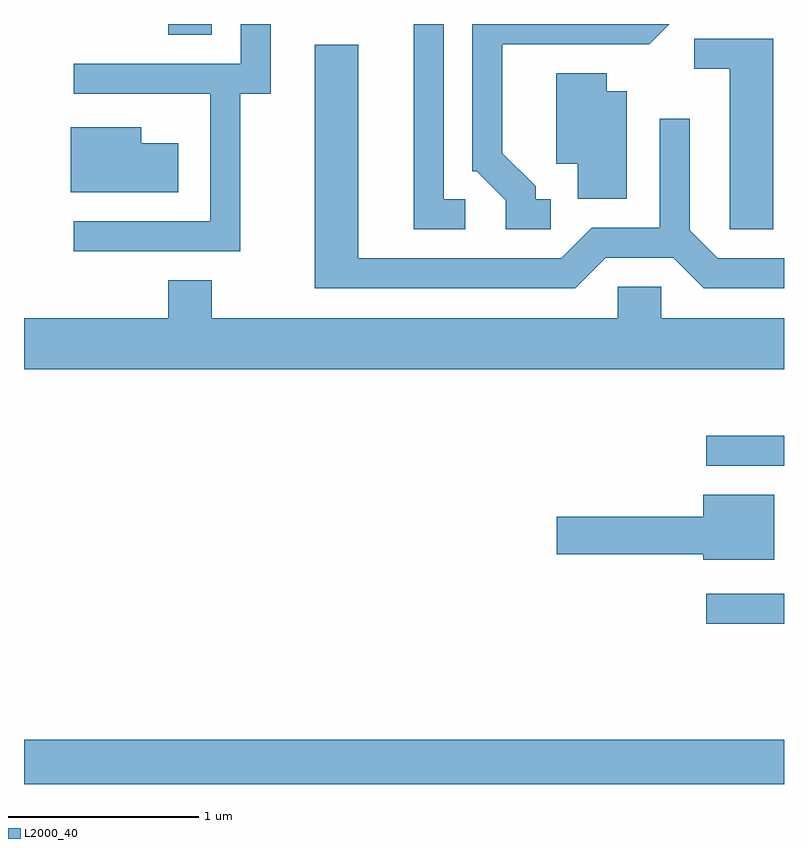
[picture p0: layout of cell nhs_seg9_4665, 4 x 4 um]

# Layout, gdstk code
import gdstk
lib = gdstk.Library(unit=1e-6, precision=1e-09)
def R(c, l, rs):  # rectangles x0, y0, x1, y1
    for r in rs: c.add(gdstk.rectangle(r[:2], r[2:], *l))
def P(c, l, *ps):  # polygons
    for p in ps: c.add(gdstk.Polygon(p, *l))
L2000_40 = (2000, 40)

nhs_seg9_4665 = lib.new_cell('nhs_seg9_4665')
R(nhs_seg9_4665, L2000_40, [(321.611,2078.432,325.611,2078.664), (325.203,2079.276,325.611,2079.434), (325.203,2080.106,325.611,2080.264), (322.371,2082.376,322.599,2082.432)])
P(nhs_seg9_4665, L2000_40, [(322.749,2082.066),(322.909,2082.066),(322.909,2082.432),(322.751,2082.432),(322.751,2082.224),(321.873,2082.224),(321.873,2082.066),(322.591,2082.066),(322.591,2081.394),(321.873,2081.394),(321.873,2081.236),(322.749,2081.236)],
  [(323.933,2081.509),(323.819,2081.509),(323.819,2082.432),(323.661,2082.432),(323.661,2081.351),(323.933,2081.351)],
  [(324.383,2081.509),(324.304,2081.509),(324.304,2081.577),(324.129,2081.751),(324.129,2082.326),(324.902,2082.326),(325.008,2082.432),(323.971,2082.432),(323.971,2081.656),(323.994,2081.656),(324.146,2081.504),(324.146,2081.351),(324.383,2081.351)],
  [(325.554,2082.354),(325.138,2082.354),(325.138,2082.196),(325.326,2082.196),(325.326,2081.351),(325.554,2081.351)],
  [(324.672,2081.201),(325.029,2081.201),(325.189,2081.041),(325.611,2081.041),(325.611,2081.199),(325.262,2081.199),(325.114,2081.347),(325.114,2081.933),(324.956,2081.933),(324.956,2081.359),(324.599,2081.359),(324.439,2081.199),(323.369,2081.199),(323.369,2082.324),(323.141,2082.324),(323.141,2081.041),(324.512,2081.041)],
  [(324.784,2082.079),(324.679,2082.079),(324.679,2082.174),(324.411,2082.174),(324.411,2081.696),(324.526,2081.696),(324.526,2081.511),(324.784,2081.511)],
  [(322.424,2081.804),(322.229,2081.804),(322.229,2081.889),(321.856,2081.889),(321.856,2081.546),(322.424,2081.546)],
  [(325.611,2080.884),(324.964,2080.884),(324.964,2081.049),(324.736,2081.049),(324.736,2080.884),(322.599,2080.884),(322.599,2081.084),(322.371,2081.084),(322.371,2080.884),(321.611,2080.884),(321.611,2080.616),(325.611,2080.616)],
  [(325.559,2079.954),(325.186,2079.954),(325.186,2079.839),(324.416,2079.839),(324.416,2079.641),(325.186,2079.641),(325.186,2079.611),(325.559,2079.611)])

lib.write_gds('nhs_seg9_4665.gds')
